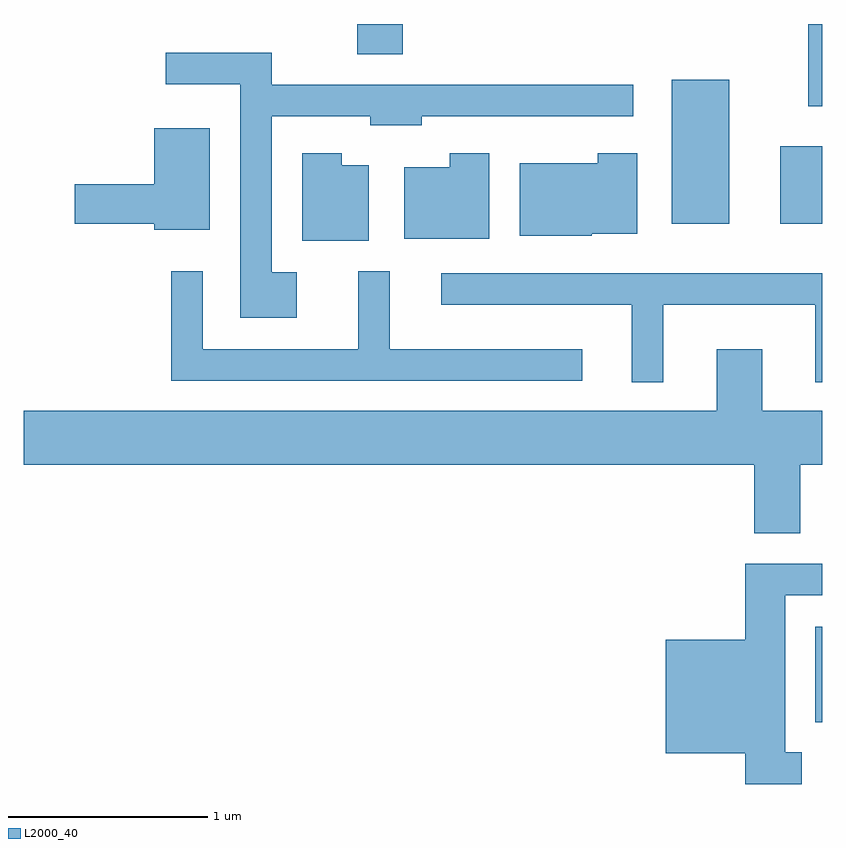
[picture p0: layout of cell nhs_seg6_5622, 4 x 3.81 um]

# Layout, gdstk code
import gdstk
lib = gdstk.Library(unit=1e-6, precision=1e-09)
def R(c, l, rs):  # rectangles x0, y0, x1, y1
    for r in rs: c.add(gdstk.rectangle(r[:2], r[2:], *l))
def P(c, l, *ps):  # polygons
    for p in ps: c.add(gdstk.Polygon(p, *l))
L2000_40 = (2000, 40)

nhs_seg6_5622 = lib.new_cell('nhs_seg6_5622')
R(nhs_seg6_5622, L2000_40, [(359.576,1628.666,359.611,1629.144), (358.856,1631.161,359.144,1631.884), (359.401,1631.161,359.611,1631.549), (359.541,1631.751,359.611,1632.162), (357.281,1632.011,357.509,1632.162)])
P(nhs_seg6_5622, L2000_40, [(356.979,1630.919),(356.854,1630.919),(356.854,1631.701),(357.346,1631.701),(357.346,1631.656),(357.604,1631.656),(357.604,1631.701),(358.663,1631.701),(358.663,1631.859),(356.854,1631.859),(356.854,1632.019),(356.323,1632.019),(356.323,1631.861),(356.696,1631.861),(356.696,1630.691),(356.979,1630.691)],
  [(356.544,1631.639),(356.266,1631.639),(356.266,1631.359),(355.866,1631.359),(355.866,1631.161),(356.266,1631.161),(356.266,1631.131),(356.544,1631.131)],
  [(358.455,1631.111),(358.684,1631.111),(358.684,1631.514),(358.486,1631.514),(358.486,1631.464),(358.096,1631.464),(358.096,1631.101),(358.455,1631.101)],
  [(357.944,1631.514),(357.746,1631.514),(357.746,1631.444),(357.516,1631.444),(357.516,1631.086),(357.944,1631.086)],
  [(357.339,1631.454),(357.204,1631.454),(357.204,1631.514),(357.006,1631.514),(357.006,1631.076),(357.339,1631.076)],
  [(358.408,1630.534),(357.444,1630.534),(357.444,1630.923),(357.286,1630.923),(357.286,1630.534),(356.509,1630.534),(356.509,1630.923),(356.351,1630.923),(356.351,1630.376),(358.408,1630.376)],
  [(358.814,1630.756),(359.576,1630.756),(359.576,1630.368),(359.611,1630.368),(359.611,1630.914),(357.703,1630.914),(357.703,1630.756),(358.656,1630.756),(358.656,1630.368),(358.814,1630.368)],
  [(359.499,1629.956),(359.611,1629.956),(359.611,1630.224),(359.309,1630.224),(359.309,1630.534),(359.081,1630.534),(359.081,1630.224),(355.611,1630.224),(355.611,1629.956),(359.271,1629.956),(359.271,1629.611),(359.499,1629.611)],
  [(359.508,1628.514),(359.424,1628.514),(359.424,1629.301),(359.611,1629.301),(359.611,1629.459),(359.226,1629.459),(359.226,1629.079),(358.826,1629.079),(358.826,1628.511),(359.226,1628.511),(359.226,1628.356),(359.508,1628.356)])

lib.write_gds('nhs_seg6_5622.gds')
